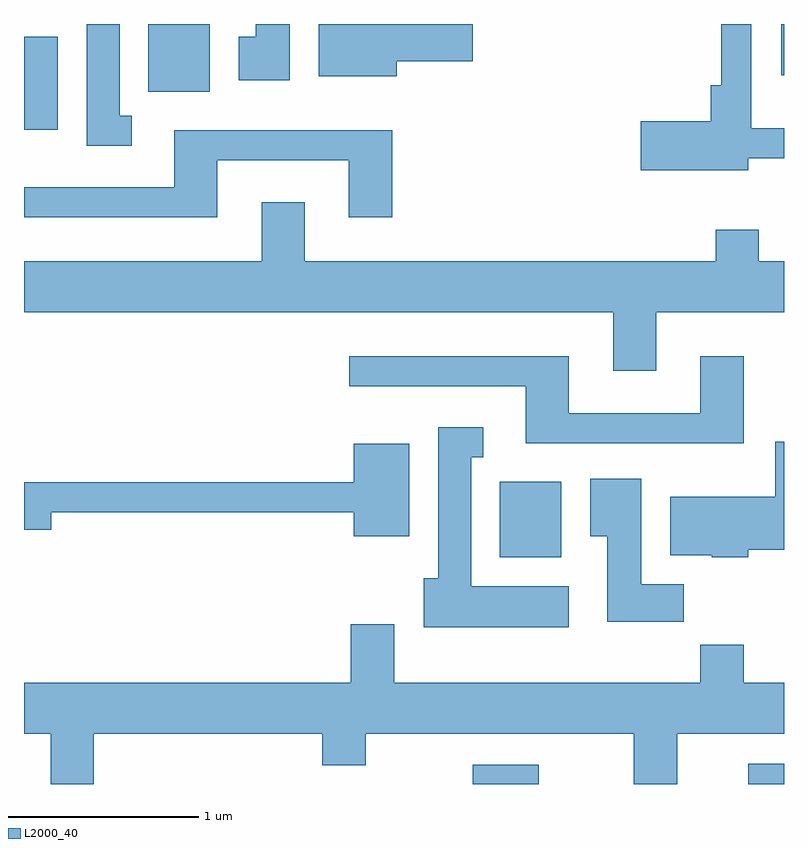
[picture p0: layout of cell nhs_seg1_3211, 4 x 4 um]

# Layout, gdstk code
import gdstk
lib = gdstk.Library(unit=1e-6, precision=1e-09)
def R(c, l, rs):  # rectangles x0, y0, x1, y1
    for r in rs: c.add(gdstk.rectangle(r[:2], r[2:], *l))
def P(c, l, *ps):  # polygons
    for p in ps: c.add(gdstk.Polygon(p, *l))
L2000_40 = (2000, 40)

nhs_seg1_3211 = lib.new_cell('nhs_seg1_3211')
R(nhs_seg1_3211, L2000_40, [(283.973,943.712,284.319,943.814), (285.423,943.712,285.611,943.819), (284.116,944.906,284.439,945.304), (281.611,947.156,281.789,947.644), (282.266,947.356,282.589,947.712), (285.596,947.441,285.611,947.712)])
P(nhs_seg1_3211, L2000_40, [(283.009,947.712),(282.831,947.712),(282.831,947.644),(282.741,947.644),(282.741,947.416),(283.009,947.416)],
  [(285.424,947.006),(285.611,947.006),(285.611,947.164),(285.439,947.164),(285.439,947.712),(285.281,947.712),(285.281,947.389),(285.226,947.389),(285.226,947.199),(284.856,947.199),(284.856,946.941),(285.424,946.941)],
  [(283.574,947.516),(283.974,947.516),(283.974,947.712),(283.161,947.712),(283.161,947.436),(283.574,947.436)],
  [(282.178,947.229),(282.114,947.229),(282.114,947.712),(281.941,947.712),(281.941,947.071),(282.178,947.071)],
  [(282.629,946.996),(283.321,946.996),(283.321,946.696),(283.549,946.696),(283.549,947.154),(282.401,947.154),(282.401,946.854),(281.611,946.854),(281.611,946.696),(282.629,946.696)],
  [(284.939,946.196),(285.611,946.196),(285.611,946.464),(285.479,946.464),(285.479,946.629),(285.251,946.629),(285.251,946.464),(283.089,946.464),(283.089,946.774),(282.861,946.774),(282.861,946.464),(281.611,946.464),(281.611,946.196),(284.711,946.196),(284.711,945.886),(284.939,945.886)],
  [(285.399,945.964),(285.171,945.964),(285.171,945.664),(284.479,945.664),(284.479,945.964),(283.323,945.964),(283.323,945.806),(284.251,945.806),(284.251,945.506),(285.399,945.506)],
  [(284.479,944.754),(283.964,944.754),(283.964,945.431),(284.028,945.431),(284.028,945.589),(283.791,945.589),(283.791,944.794),(283.716,944.794),(283.716,944.536),(284.479,944.536)],
  [(285.424,944.946),(285.611,944.946),(285.611,945.514),(285.566,945.514),(285.566,945.224),(285.011,945.224),(285.011,944.916),(285.23,944.916),(285.23,944.906),(285.424,944.906)],
  [(283.639,945.504),(283.346,945.504),(283.346,945.299),(281.611,945.299),(281.611,945.051),(281.754,945.051),(281.754,945.141),(283.346,945.141),(283.346,945.016),(283.639,945.016)],
  [(285.084,944.764),(284.859,944.764),(284.859,945.319),(284.591,945.319),(284.591,945.016),(284.681,945.016),(284.681,944.566),(285.084,944.566)],
  [(281.979,943.976),(283.181,943.976),(283.181,943.811),(283.409,943.811),(283.409,943.976),(284.821,943.976),(284.821,943.712),(285.049,943.712),(285.049,943.976),(285.611,943.976),(285.611,944.244),(285.399,944.244),(285.399,944.444),(285.171,944.444),(285.171,944.244),(283.559,944.244),(283.559,944.554),(283.331,944.554),(283.331,944.244),(281.611,944.244),(281.611,943.976),(281.751,943.976),(281.751,943.712),(281.979,943.712)])

lib.write_gds('nhs_seg1_3211.gds')
